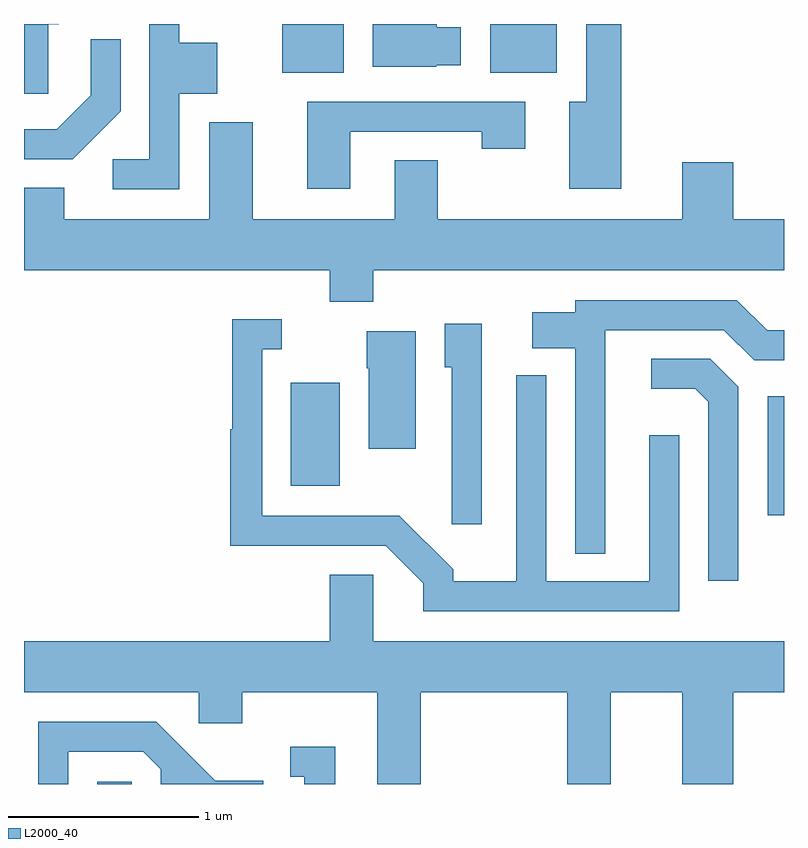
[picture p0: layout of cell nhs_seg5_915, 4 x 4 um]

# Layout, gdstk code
import gdstk
lib = gdstk.Library(unit=1e-6, precision=1e-09)
def R(c, l, rs):  # rectangles x0, y0, x1, y1
    for r in rs: c.add(gdstk.rectangle(r[:2], r[2:], *l))
def P(c, l, *ps):  # polygons
    for p in ps: c.add(gdstk.Polygon(p, *l))
L2000_40 = (2000, 40)

nhs_seg5_915 = lib.new_cell('nhs_seg5_915')
R(nhs_seg5_915, L2000_40, [(211.996,1474.072,212.179,1474.084), (215.526,1475.486,215.611,1476.114), (213.016,1475.641,213.274,1476.184), (212.971,1477.816,213.294,1478.072), (214.066,1477.816,214.414,1478.072)])
P(nhs_seg5_915, L2000_40, [(212.429,1477.706),(212.629,1477.706),(212.629,1477.974),(212.429,1477.974),(212.429,1478.072),(212.271,1478.072),(212.271,1477.359),(212.078,1477.359),(212.078,1477.201),(212.429,1477.201)],
  [(211.739,1478.071),(211.794,1478.071),(211.794,1478.072),(211.611,1478.072),(211.611,1477.706),(211.739,1477.706)],
  [(213.78,1477.856),(213.909,1477.856),(213.909,1478.054),(213.784,1478.054),(213.784,1478.072),(213.446,1478.072),(213.446,1477.846),(213.78,1477.846)],
  [(214.754,1478.072),(214.571,1478.072),(214.571,1477.664),(214.481,1477.664),(214.481,1477.206),(214.754,1477.206)],
  [(212.119,1477.614),(212.119,1477.993),(211.961,1477.993),(211.961,1477.697),(211.784,1477.519),(211.611,1477.519),(211.611,1477.361),(211.867,1477.361)],
  [(213.329,1477.506),(214.021,1477.506),(214.021,1477.416),(214.249,1477.416),(214.249,1477.664),(213.101,1477.664),(213.101,1477.206),(213.329,1477.206)],
  [(213.449,1476.776),(215.611,1476.776),(215.611,1477.044),(215.344,1477.044),(215.344,1477.344),(215.076,1477.344),(215.076,1477.044),(213.789,1477.044),(213.789,1477.354),(213.561,1477.354),(213.561,1477.044),(212.814,1477.044),(212.814,1477.554),(212.586,1477.554),(212.586,1477.044),(211.824,1477.044),(211.824,1477.209),(211.611,1477.209),(211.611,1476.776),(213.221,1476.776),(213.221,1476.611),(213.449,1476.611)],
  [(214.669,1476.461),(215.294,1476.461),(215.454,1476.301),(215.611,1476.301),(215.611,1476.459),(215.522,1476.459),(215.362,1476.619),(214.511,1476.619),(214.511,1476.554),(214.286,1476.554),(214.286,1476.366),(214.511,1476.366),(214.511,1475.283),(214.669,1475.283)],
  [(215.059,1475.908),(214.901,1475.908),(214.901,1475.139),(214.359,1475.139),(214.359,1476.223),(214.201,1476.223),(214.201,1475.139),(213.869,1475.139),(213.869,1475.202),(213.587,1475.484),(212.864,1475.484),(212.864,1476.361),(212.968,1476.361),(212.968,1476.519),(212.706,1476.519),(212.706,1475.94),(212.696,1475.94),(212.696,1475.326),(213.514,1475.326),(213.711,1475.129),(213.711,1474.981),(215.059,1474.981)],
  [(214.019,1476.494),(213.826,1476.494),(213.826,1476.266),(213.861,1476.266),(213.861,1475.438),(214.019,1475.438)],
  [(213.674,1476.454),(213.416,1476.454),(213.416,1476.26),(213.426,1476.26),(213.426,1475.836),(213.674,1475.836)],
  [(215.369,1476.162),(215.222,1476.309),(214.913,1476.309),(214.913,1476.151),(215.144,1476.151),(215.211,1476.084),(215.211,1475.143),(215.369,1475.143)],
  [(213.699,1474.556),(214.471,1474.556),(214.471,1474.072),(214.699,1474.072),(214.699,1474.556),(215.076,1474.556),(215.076,1474.072),(215.344,1474.072),(215.344,1474.556),(215.611,1474.556),(215.611,1474.824),(213.449,1474.824),(213.449,1475.174),(213.221,1475.174),(213.221,1474.824),(211.611,1474.824),(211.611,1474.556),(212.531,1474.556),(212.531,1474.391),(212.759,1474.391),(212.759,1474.556),(213.471,1474.556),(213.471,1474.072),(213.699,1474.072)],
  [(211.844,1474.241),(212.239,1474.241),(212.331,1474.149),(212.331,1474.072),(212.869,1474.072),(212.869,1474.089),(212.617,1474.089),(212.307,1474.399),(211.686,1474.399),(211.686,1474.072),(211.844,1474.072)],
  [(213.249,1474.269),(213.013,1474.269),(213.013,1474.111),(213.086,1474.111),(213.086,1474.072),(213.249,1474.072)])

lib.write_gds('nhs_seg5_915.gds')
